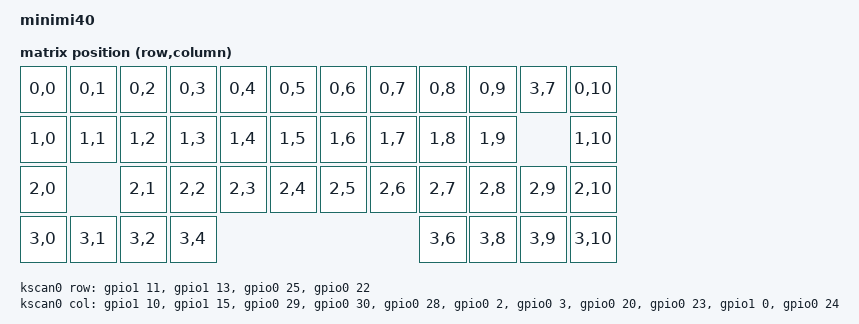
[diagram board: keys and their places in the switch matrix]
/*
 * Copyright (c) 2024 CannonKeys LLC
 *
 * SPDX-License-Identifier: MIT
 */

/dts-v1/;
#include <nordic/nrf52840_qiaa.dtsi>

#include <dt-bindings/zmk/matrix_transform.h>

#include "control_gpio_behavior.dtsi"

/ {
    model = "minimi40";
    compatible = "cannonkeys,minimi40";

    chosen {
        zephyr,code-partition = &code_partition;
        zephyr,sram = &sram0;
        zephyr,flash = &flash0;
        zephyr,console = &cdc_acm_uart;
        zmk,battery = &vbatt;
        zmk,kscan = &kscan0;
        zmk,matrix_transform = &default_transform;
    };

    default_transform: keymap_transform_0 {
        compatible = "zmk,matrix-transform";
        columns = <11>;
        rows = <4>;
        map = <
RC(0,0) RC(0,1) RC(0,2) RC(0,3) RC(0,4) RC(0,5) RC(0,6) RC(0,7) RC(0,8) RC(0,9) RC(3,7) RC(0,10)
RC(1,0) RC(1,1) RC(1,2) RC(1,3) RC(1,4) RC(1,5) RC(1,6) RC(1,7) RC(1,8) RC(1,9)         RC(1,10)
RC(2,0)         RC(2,1) RC(2,2) RC(2,3) RC(2,4) RC(2,5) RC(2,6) RC(2,7) RC(2,8) RC(2,9) RC(2,10) 
RC(3,0)      RC(3,1)      RC(3,2)       RC(3,4)         RC(3,6)         RC(3,8) RC(3,9) RC(3,10)
        >;
    };

    kscan0: kscan {
        compatible = "zmk,kscan-gpio-matrix";

        diode-direction = "col2row";
        row-gpios
            = <&gpio1 11 (GPIO_ACTIVE_HIGH | GPIO_PULL_DOWN)>
            , <&gpio1 13 (GPIO_ACTIVE_HIGH | GPIO_PULL_DOWN)>
            , <&gpio0 25 (GPIO_ACTIVE_HIGH | GPIO_PULL_DOWN)>
            , <&gpio0 22 (GPIO_ACTIVE_HIGH | GPIO_PULL_DOWN)>
            ;
        col-gpios
            = <&gpio1 10 GPIO_ACTIVE_HIGH>
            , <&gpio1 15 GPIO_ACTIVE_HIGH>
            , <&gpio0 29 GPIO_ACTIVE_HIGH>
            , <&gpio0 30 GPIO_ACTIVE_HIGH>
            , <&gpio0 28 GPIO_ACTIVE_HIGH>
            , <&gpio0  2 GPIO_ACTIVE_HIGH>
            , <&gpio0  3 GPIO_ACTIVE_HIGH>
            , <&gpio0 20 GPIO_ACTIVE_HIGH>
            , <&gpio0 23 GPIO_ACTIVE_HIGH>
            , <&gpio1  0 GPIO_ACTIVE_HIGH>
            , <&gpio0 24 GPIO_ACTIVE_HIGH>
            ;
    };

    leds: leds {
        compatible = "zmk,control-gpio";
        chg_led: led_0 {
            gpios = <&gpio1 12 GPIO_ACTIVE_HIGH>;
            starting-state-on;
        };
        blue_led: led_1 {
            gpios = <&gpio0 26 GPIO_ACTIVE_HIGH>;
        };
    };

    vbatt: vbatt {
        compatible = "zmk,battery-nrf-vddh";
    };

    keys {
        compatible = "gpio-keys";
        soft_off_gpio_key: soft_off_gpio_key {
            gpios = <&gpio0 14 (GPIO_ACTIVE_HIGH | GPIO_PULL_DOWN)>;
        };
    };

    wakeup_scan: wakeup_scan {
        compatible = "zmk,gpio-key-wakeup-trigger";
        trigger = <&soft_off_gpio_key>;
        wakeup-source;
        extra-gpios = <&gpio0 10 GPIO_ACTIVE_HIGH>;
    };

    soft_off_wakers {
        compatible = "zmk,soft-off-wakeup-sources";
        wakeup-sources = <&wakeup_scan>;
    };
};

&adc {
    status = "okay";
};

&gpiote {
    status = "okay";
};

&gpio0 {
    status = "okay";
};

&gpio1 {
    status = "okay";
};

&usbd {
    status = "okay";
    cdc_acm_uart: cdc_acm_uart {
        compatible = "zephyr,cdc-acm-uart";
    };
};

&flash0 {
    /*
     * For more information, see:
     * http://docs.zephyrproject.org/latest/devices/dts/flash_partitions.html
     */
    partitions {
        compatible = "fixed-partitions";
        #address-cells = <1>;
        #size-cells = <1>;

        sd_partition: partition@0 {
            label = "mbr";
            reg = <0x00000000 0x00001000>;
        };

        code_partition: partition@1000 {
            label = "code_partition";
            reg = <0x00001000 0x000d3000>;
        };

        /*
         * The flash starting at 0x000d4000 and ending at
         * 0x000f3fff is reserved for use by the application.
         */

        /*
         * Storage partition will be used by FCB/LittleFS/NVS
         * if enabled.
         */
        storage_partition: partition@d4000 {
            label = "storage";
            reg = <0x000d4000 0x00020000>;
        };

        boot_partition: partition@f4000 {
            label = "adafruit_boot";
            reg = <0x000f4000 0x0000c000>;
        };
    };
};
